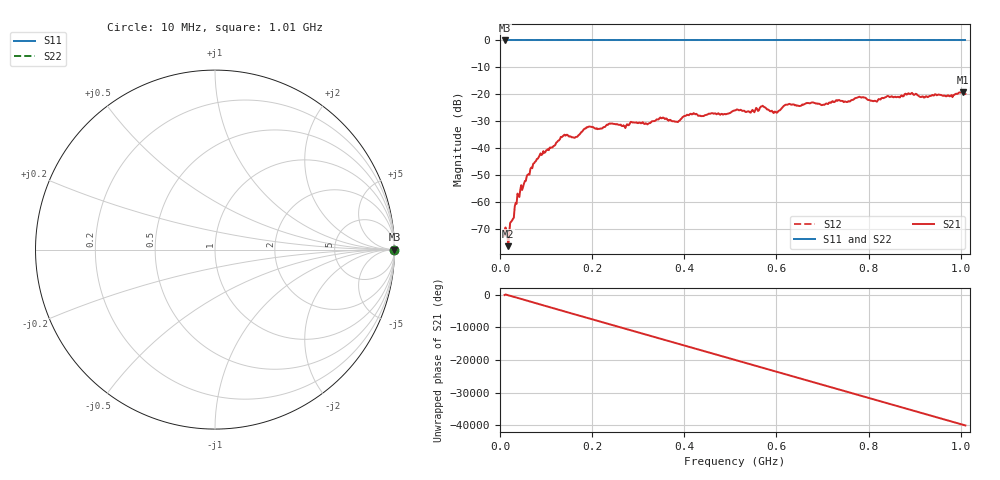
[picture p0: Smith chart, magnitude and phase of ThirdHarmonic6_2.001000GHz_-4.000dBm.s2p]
! 8/17/2025 12:02:15 AM
! C:\ANRITSUVNA\TEMP\TEMP.S2P
! CHANNEL.1
! TR.MEASUREMENT
! RAW.DATA
! RF.CORRECTION.OFF
! AVERAGING.OFF
! IF.BANDWIDTH: 5KHZ
! SWEEPTYPE:  FREQ.SWEEP(Linear)
! Reference Plane Port Info
! PORT:  PORT1  PORT2
! DISTANCE:  0  m  0  m
! TIME:  0  s  0  s
! PHASE.OFFSET:  0  deg.  0  deg.
! LOSS:  0  dB  0  dB
! REF.LOSS:  0  dB  0  dB
! REF.FREQ:  0  Hz  0  Hz
! Power Info
! POWER:  -20  dBm  -20  dBm
! EFF.POWER:  -20  dBm  -20  dBm
! SOURCE.ATTEN:  0  dB  0  dB
! TEST.ATTEN:  0  dB  0  dB
# GHZ S RI R 50.0
! FREQ.GHZ  S11RE  S11IM  S21RE  S21IM  S12RE  S12IM  S22RE  S22IM
!; PortSelection: Port_12
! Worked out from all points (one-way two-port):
!   501 points, 10 MHz to 1.01 GHz, reference 50 ohm
!   highest |S21| = -19.25 dB at 1.004 GHz (marker M1); lowest = -76.3 dB at 18 MHz (marker M2)
!   lowest |S11| = 0.0 dB at 10 MHz (marker M3)
!   |S11| at or under -10 dB: nowhere
!   |S22| runs from 0.0 to 0.0 dB; largest |S21 - S12| = 1.1
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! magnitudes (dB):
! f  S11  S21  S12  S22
! 10 MHz  0.0  -72.4  0.0  0.0
! 18 MHz  0.0  -76.3  0.0  0.0
! 42 MHz  0.0  -58.1  0.0  0.0
! 76 MHz  0.0  -45.0  0.0  0.0
! 136 MHz  0.0  -35.6  0.0  0.0
! 164 MHz  0.0  -35.9  0.0  0.0
! 178 MHz  0.0  -33.8  0.0  0.0
! 192 MHz  0.0  -32.0  0.0  0.0
! 322 MHz  0.0  -30.9  0.0  0.0
! 344 MHz  0.0  -29.3  0.0  0.0
! 384 MHz  0.0  -30.2  0.0  0.0
! 416 MHz  0.0  -27.4  0.0  0.0
! 510 MHz  0.0  -26.0  0.0  0.0
! 570 MHz  0.0  -24.2  0.0  0.0
! 598 MHz  0.0  -26.5  0.0  0.0
! 624 MHz  0.0  -23.8  0.0  0.0
! 678 MHz  0.0  -23.0  0.0  0.0
! 782 MHz  0.0  -21.0  0.0  0.0
! 814 MHz  0.0  -22.4  0.0  0.0
! 844 MHz  0.0  -20.8  0.0  0.0
! 1.004 GHz  0.0  -19.2  0.0  0.0
! 1.01 GHz  0.0  -19.8  0.0  0.0
